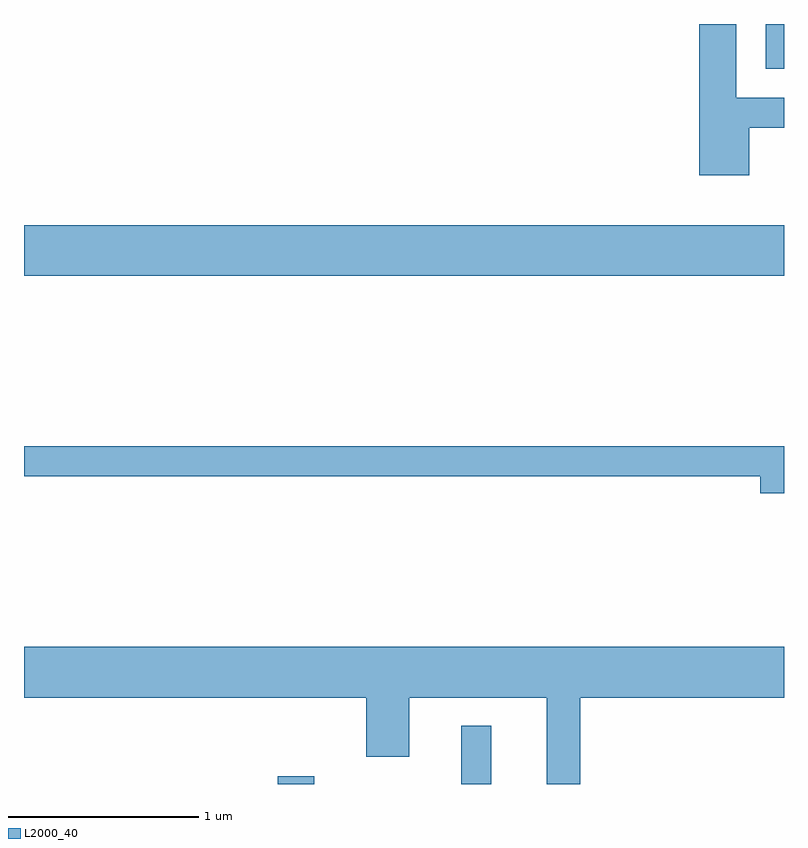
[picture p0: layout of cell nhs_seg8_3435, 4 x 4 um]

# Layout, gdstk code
import gdstk
lib = gdstk.Library(unit=1e-6, precision=1e-09)
def R(c, l, rs):  # rectangles x0, y0, x1, y1
    for r in rs: c.add(gdstk.rectangle(r[:2], r[2:], *l))
def P(c, l, *ps):  # polygons
    for p in ps: c.add(gdstk.Polygon(p, *l))
L2000_40 = (2000, 40)

nhs_seg8_3435 = lib.new_cell('nhs_seg8_3435')
R(nhs_seg8_3435, L2000_40, [(288.946,1900.342,289.139,1900.384), (289.911,1900.342,290.069,1900.648), (287.611,1903.016,291.611,1903.284), (291.516,1904.106,291.611,1904.342)])
P(nhs_seg8_3435, L2000_40, [(291.429,1903.796),(291.611,1903.796),(291.611,1903.954),(291.359,1903.954),(291.359,1904.342),(291.166,1904.342),(291.166,1903.546),(291.429,1903.546)],
  [(291.611,1902.119),(287.611,1902.119),(287.611,1901.961),(291.486,1901.961),(291.486,1901.871),(291.611,1901.871)],
  [(290.539,1900.796),(291.611,1900.796),(291.611,1901.064),(287.611,1901.064),(287.611,1900.796),(289.411,1900.796),(289.411,1900.486),(289.639,1900.486),(289.639,1900.796),(290.361,1900.796),(290.361,1900.342),(290.539,1900.342)])

lib.write_gds('nhs_seg8_3435.gds')
